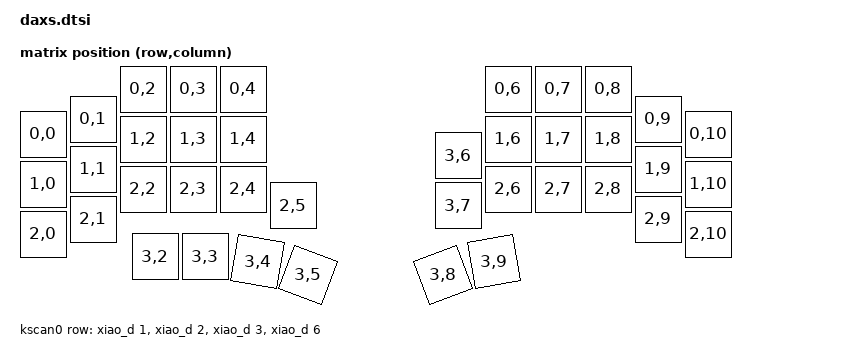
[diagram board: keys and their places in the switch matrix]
#include <dt-bindings/zmk/matrix_transform.h>
#include <physical_layouts.dtsi>

/ {
    chosen {
      zmk,physical-layout = &daxs_physical_layout;
    };

    // Positions come from the switch centres on the PCBs (17 mm pitch = 100), each half
    // measured from its own top row. The gap between the halves is arbitrary.
    daxs_physical_layout: daxs_physical_layout {
      compatible = "zmk,physical-layout";
      display-name = "Default";
      transform = <&default_transform>;
      kscan = <&kscan0>;

      keys //                    w   h    x    y     rot   rx   ry
        // Row 0
        = <&key_physical_attrs 100 100    0   90       0    0    0>  //  0: L Row0-Col0
        , <&key_physical_attrs 100 100  100   60       0    0    0>  //  1: L Row0-Col1
        , <&key_physical_attrs 100 100  200    0       0    0    0>  //  2: L Row0-Col2
        , <&key_physical_attrs 100 100  300    0       0    0    0>  //  3: L Row0-Col3
        , <&key_physical_attrs 100 100  400    0       0    0    0>  //  4: L Row0-Col4
        , <&key_physical_attrs 100 100  930    0       0    0    0>  //  5: R Row0-Col0
        , <&key_physical_attrs 100 100 1030    0       0    0    0>  //  6: R Row0-Col1
        , <&key_physical_attrs 100 100 1130    0       0    0    0>  //  7: R Row0-Col2
        , <&key_physical_attrs 100 100 1230   60       0    0    0>  //  8: R Row0-Col3
        , <&key_physical_attrs 100 100 1330   90       0    0    0>  //  9: R Row0-Col4
        // Row 1, with the upper key of the right inner column
        , <&key_physical_attrs 100 100    0  190       0    0    0>  // 10: L Row1-Col0
        , <&key_physical_attrs 100 100  100  160       0    0    0>  // 11: L Row1-Col1
        , <&key_physical_attrs 100 100  200  100       0    0    0>  // 12: L Row1-Col2
        , <&key_physical_attrs 100 100  300  100       0    0    0>  // 13: L Row1-Col3
        , <&key_physical_attrs 100 100  400  100       0    0    0>  // 14: L Row1-Col4
        , <&key_physical_attrs 100 100  830  133       0    0    0>  // 15: R Row3-Col0 (inner, upper)
        , <&key_physical_attrs 100 100  930  100       0    0    0>  // 16: R Row1-Col0
        , <&key_physical_attrs 100 100 1030  100       0    0    0>  // 17: R Row1-Col1
        , <&key_physical_attrs 100 100 1130  100       0    0    0>  // 18: R Row1-Col2
        , <&key_physical_attrs 100 100 1230  160       0    0    0>  // 19: R Row1-Col3
        , <&key_physical_attrs 100 100 1330  190       0    0    0>  // 20: R Row1-Col4
        // Row 2, with the left inner key and the lower key of the right inner column
        , <&key_physical_attrs 100 100    0  290       0    0    0>  // 21: L Row2-Col0
        , <&key_physical_attrs 100 100  100  260       0    0    0>  // 22: L Row2-Col1
        , <&key_physical_attrs 100 100  200  200       0    0    0>  // 23: L Row2-Col2
        , <&key_physical_attrs 100 100  300  200       0    0    0>  // 24: L Row2-Col3
        , <&key_physical_attrs 100 100  400  200       0    0    0>  // 25: L Row2-Col4
        , <&key_physical_attrs 100 100  500  233       0    0    0>  // 26: L Row2-Col5 (inner)
        , <&key_physical_attrs 100 100  830  233       0    0    0>  // 27: R Row3-Col1 (inner, lower)
        , <&key_physical_attrs 100 100  930  200       0    0    0>  // 28: R Row2-Col0
        , <&key_physical_attrs 100 100 1030  200       0    0    0>  // 29: R Row2-Col1
        , <&key_physical_attrs 100 100 1130  200       0    0    0>  // 30: R Row2-Col2
        , <&key_physical_attrs 100 100 1230  260       0    0    0>  // 31: R Row2-Col3
        , <&key_physical_attrs 100 100 1330  290       0    0    0>  // 32: R Row2-Col4
        // Thumb clusters
        , <&key_physical_attrs 100 100  224  335       0    0    0>  // 33: L Row3-Col2
        , <&key_physical_attrs 100 100  324  335       0    0    0>  // 34: L Row3-Col3
        , <&key_physical_attrs 100 100  429  345    1000  479  395>  // 35: L Row3-Col4
        , <&key_physical_attrs 100 100  530  372    2000  580  422>  // 36: L Row3-Col5
        , <&key_physical_attrs 100 100  800  372 (-2000)  850  422>  // 37: R Row3-Col2
        , <&key_physical_attrs 100 100  902  345 (-1000)  952  395>  // 38: R Row3-Col3
        ;
    };

    // The right half's inner column is wired as Row3-Col0/Col1, so those two sit in the
    // rows they are physically next to rather than with the thumbs.
    default_transform: keymap_transform_0 {
      compatible = "zmk,matrix-transform";
      columns = <11>;
      rows = <4>;
      map = <
        RC(0,0) RC(0,1) RC(0,2) RC(0,3) RC(0,4)                  RC(0,6) RC(0,7) RC(0,8) RC(0,9) RC(0,10)
        RC(1,0) RC(1,1) RC(1,2) RC(1,3) RC(1,4)          RC(3,6) RC(1,6) RC(1,7) RC(1,8) RC(1,9) RC(1,10)
        RC(2,0) RC(2,1) RC(2,2) RC(2,3) RC(2,4) RC(2,5)  RC(3,7) RC(2,6) RC(2,7) RC(2,8) RC(2,9) RC(2,10)
                        RC(3,2) RC(3,3) RC(3,4) RC(3,5)  RC(3,8) RC(3,9)
      >;
    };

    kscan0: kscan {
      compatible = "zmk,kscan-gpio-matrix";
      wakeup-source;
      diode-direction = "col2row";
      row-gpios
        = <&xiao_d 1 (GPIO_ACTIVE_HIGH | GPIO_PULL_DOWN)>  // D1/P0.03 -> Row0
        , <&xiao_d 2 (GPIO_ACTIVE_HIGH | GPIO_PULL_DOWN)>  // D2/P0.28 -> Row1
        , <&xiao_d 3 (GPIO_ACTIVE_HIGH | GPIO_PULL_DOWN)>  // D3/P0.29 -> Row2
        , <&xiao_d 6 (GPIO_ACTIVE_HIGH | GPIO_PULL_DOWN)>  // D6/P1.11 -> Row3
        ;
    };

    left_encoder: encoder_left {
      compatible = "alps,ec11";
      steps = <80>;
      status = "disabled";
    };

    sensors: sensors {
      compatible = "zmk,keymap-sensors";
      sensors = <&left_encoder>;
      triggers-per-rotation = <40>;  // steps(80) の整数約数 = 2 pulses/trigger
    };
};

// The XIAO's default serial, SPI and I2C buses sit on D6/D7, D8-D10 and D4/D5, all of
// which this board uses for the matrix, the encoder or the trackball.
&xiao_serial {
  status = "disabled";
};

&xiao_spi {
  status = "disabled";
};

&xiao_i2c {
  status = "disabled";
};

// Col4, Col5 and the trackball's CS are on the NFC pads (P0.09 / P0.10).
&uicr {
  nfct-pins-as-gpios;
};
